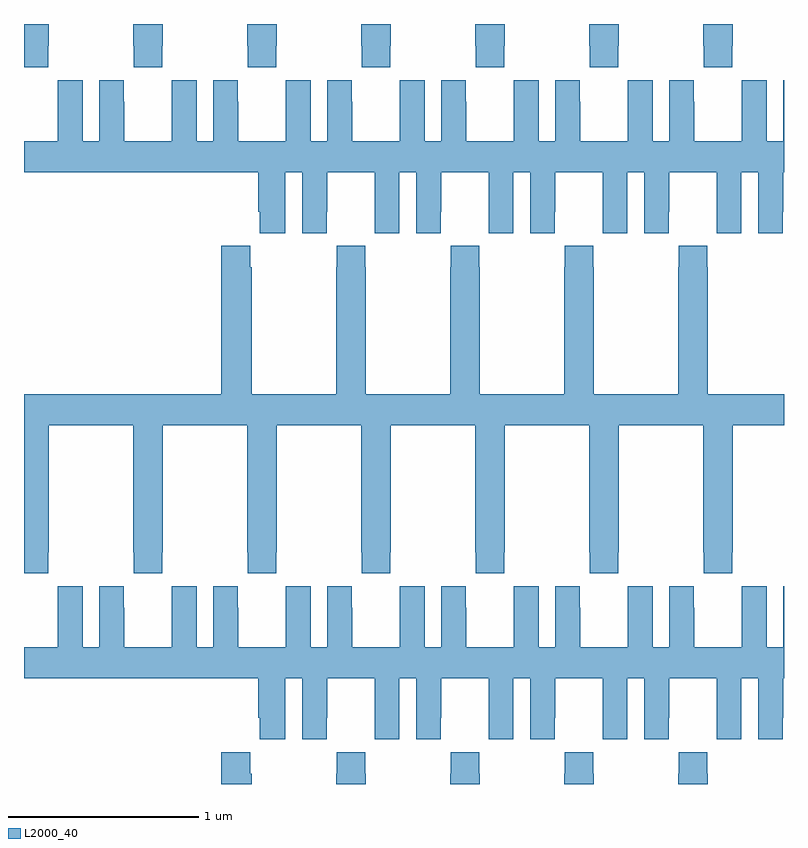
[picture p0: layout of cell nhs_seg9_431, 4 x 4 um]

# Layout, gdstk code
import gdstk
lib = gdstk.Library(unit=1e-6, precision=1e-09)
def P(c, l, *ps):  # polygons
    for p in ps: c.add(gdstk.Polygon(p, *l))
L2000_40 = (2000, 40)

nhs_seg9_431 = lib.new_cell('nhs_seg9_431')
P(nhs_seg9_431, L2000_40, [(131.127,1230.385),(131.13,1230.385),(131.13,1230.5),(131,1230.5),(131,1230.273),(131.127,1230.273)],
  [(131.727,1230.385),(131.73,1230.385),(131.73,1230.5),(131.575,1230.5),(131.575,1230.385),(131.577,1230.385),(131.577,1230.273),(131.727,1230.273)],
  [(132.327,1230.385),(132.33,1230.385),(132.33,1230.5),(132.175,1230.5),(132.175,1230.385),(132.177,1230.385),(132.177,1230.273),(132.327,1230.273)],
  [(132.927,1230.385),(132.93,1230.385),(132.93,1230.5),(132.775,1230.5),(132.775,1230.385),(132.777,1230.385),(132.777,1230.273),(132.927,1230.273)],
  [(133.527,1230.385),(133.53,1230.385),(133.53,1230.5),(133.375,1230.5),(133.375,1230.385),(133.377,1230.385),(133.377,1230.273),(133.527,1230.273)],
  [(134.127,1230.385),(134.13,1230.385),(134.13,1230.5),(133.975,1230.5),(133.975,1230.385),(133.977,1230.385),(133.977,1230.273),(134.127,1230.273)],
  [(134.727,1230.385),(134.73,1230.385),(134.73,1230.5),(134.575,1230.5),(134.575,1230.385),(134.577,1230.385),(134.577,1230.273),(134.727,1230.273)],
  [(134.045,1229.512),(134.046,1229.512),(134.046,1229.4),(134.176,1229.4),(134.176,1229.72),(134.264,1229.72),(134.264,1229.4),(134.394,1229.4),(134.394,1229.512),(134.395,1229.512),(134.395,1229.72),(134.645,1229.72),(134.645,1229.512),(134.646,1229.512),(134.646,1229.4),(134.776,1229.4),(134.776,1229.72),(134.864,1229.72),(134.864,1229.4),(134.994,1229.4),(134.994,1229.512),(134.995,1229.512),(134.995,1229.72),(135,1229.72),(135,1230.205),(134.996,1230.205),(134.996,1229.884),(134.908,1229.884),(134.908,1230.205),(134.778,1230.205),(134.778,1230.092),(134.777,1230.092),(134.777,1229.884),(134.527,1229.884),(134.527,1230.092),(134.526,1230.092),(134.526,1230.205),(134.396,1230.205),(134.396,1229.884),(134.308,1229.884),(134.308,1230.205),(134.178,1230.205),(134.178,1230.092),(134.177,1230.092),(134.177,1229.884),(133.927,1229.884),(133.927,1230.092),(133.926,1230.092),(133.926,1230.205),(133.796,1230.205),(133.796,1229.884),(133.708,1229.884),(133.708,1230.205),(133.578,1230.205),(133.578,1230.092),(133.577,1230.092),(133.577,1229.884),(133.327,1229.884),(133.327,1230.092),(133.326,1230.092),(133.326,1230.205),(133.196,1230.205),(133.196,1229.884),(133.108,1229.884),(133.108,1230.205),(132.978,1230.205),(132.978,1230.092),(132.977,1230.092),(132.977,1229.884),(132.727,1229.884),(132.727,1230.092),(132.726,1230.092),(132.726,1230.205),(132.596,1230.205),(132.596,1229.884),(132.508,1229.884),(132.508,1230.205),(132.378,1230.205),(132.378,1230.092),(132.377,1230.092),(132.377,1229.884),(132.127,1229.884),(132.127,1230.092),(132.126,1230.092),(132.126,1230.205),(131.996,1230.205),(131.996,1229.884),(131.908,1229.884),(131.908,1230.205),(131.778,1230.205),(131.778,1230.092),(131.777,1230.092),(131.777,1229.884),(131.527,1229.884),(131.527,1230.092),(131.526,1230.092),(131.526,1230.205),(131.396,1230.205),(131.396,1229.884),(131.308,1229.884),(131.308,1230.205),(131.178,1230.205),(131.178,1230.092),(131.177,1230.092),(131.177,1229.884),(131,1229.884),(131,1229.72),(132.233,1229.72),(132.233,1229.512),(132.242,1229.512),(132.242,1229.4),(132.376,1229.4),(132.376,1229.72),(132.464,1229.72),(132.464,1229.4),(132.594,1229.4),(132.594,1229.512),(132.595,1229.512),(132.595,1229.72),(132.845,1229.72),(132.845,1229.512),(132.846,1229.512),(132.846,1229.4),(132.976,1229.4),(132.976,1229.72),(133.064,1229.72),(133.064,1229.4),(133.194,1229.4),(133.194,1229.512),(133.195,1229.512),(133.195,1229.72),(133.445,1229.72),(133.445,1229.512),(133.446,1229.512),(133.446,1229.4),(133.576,1229.4),(133.576,1229.72),(133.664,1229.72),(133.664,1229.4),(133.794,1229.4),(133.794,1229.512),(133.795,1229.512),(133.795,1229.72),(134.045,1229.72)],
  [(131.127,1227.721),(131.13,1227.721),(131.13,1228.388),(131.575,1228.388),(131.575,1227.721),(131.577,1227.721),(131.577,1227.609),(131.727,1227.609),(131.727,1227.721),(131.73,1227.721),(131.73,1228.388),(132.175,1228.388),(132.175,1227.721),(132.177,1227.721),(132.177,1227.609),(132.327,1227.609),(132.327,1227.721),(132.33,1227.721),(132.33,1228.388),(132.775,1228.388),(132.775,1227.721),(132.777,1227.721),(132.777,1227.609),(132.927,1227.609),(132.927,1227.721),(132.93,1227.721),(132.93,1228.388),(133.375,1228.388),(133.375,1227.721),(133.377,1227.721),(133.377,1227.609),(133.527,1227.609),(133.527,1227.721),(133.53,1227.721),(133.53,1228.388),(133.975,1228.388),(133.975,1227.721),(133.977,1227.721),(133.977,1227.609),(134.127,1227.609),(134.127,1227.721),(134.13,1227.721),(134.13,1228.388),(134.575,1228.388),(134.575,1227.721),(134.577,1227.721),(134.577,1227.609),(134.727,1227.609),(134.727,1227.721),(134.73,1227.721),(134.73,1228.388),(135,1228.388),(135,1228.552),(134.598,1228.552),(134.598,1229.219),(134.595,1229.219),(134.595,1229.332),(134.445,1229.332),(134.445,1229.219),(134.443,1229.219),(134.443,1228.552),(133.998,1228.552),(133.998,1229.219),(133.995,1229.219),(133.995,1229.332),(133.845,1229.332),(133.845,1229.219),(133.843,1229.219),(133.843,1228.552),(133.398,1228.552),(133.398,1229.219),(133.395,1229.219),(133.395,1229.332),(133.245,1229.332),(133.245,1229.219),(133.243,1229.219),(133.243,1228.552),(132.798,1228.552),(132.798,1229.219),(132.795,1229.219),(132.795,1229.332),(132.645,1229.332),(132.645,1229.219),(132.643,1229.219),(132.643,1228.552),(132.198,1228.552),(132.198,1229.219),(132.191,1229.219),(132.191,1229.332),(132.038,1229.332),(132.038,1228.552),(131,1228.552),(131,1227.609),(131.127,1227.609)],
  [(133.927,1227.428),(133.926,1227.428),(133.926,1227.541),(133.796,1227.541),(133.796,1227.22),(133.708,1227.22),(133.708,1227.541),(133.578,1227.541),(133.578,1227.428),(133.577,1227.428),(133.577,1227.22),(133.327,1227.22),(133.327,1227.428),(133.326,1227.428),(133.326,1227.541),(133.196,1227.541),(133.196,1227.22),(133.108,1227.22),(133.108,1227.541),(132.978,1227.541),(132.978,1227.428),(132.977,1227.428),(132.977,1227.22),(132.727,1227.22),(132.727,1227.428),(132.726,1227.428),(132.726,1227.541),(132.596,1227.541),(132.596,1227.22),(132.508,1227.22),(132.508,1227.541),(132.378,1227.541),(132.378,1227.428),(132.377,1227.428),(132.377,1227.22),(132.127,1227.22),(132.127,1227.428),(132.126,1227.428),(132.126,1227.541),(131.996,1227.541),(131.996,1227.22),(131.908,1227.22),(131.908,1227.541),(131.778,1227.541),(131.778,1227.428),(131.777,1227.428),(131.777,1227.22),(131.527,1227.22),(131.527,1227.428),(131.526,1227.428),(131.526,1227.541),(131.396,1227.541),(131.396,1227.22),(131.308,1227.22),(131.308,1227.541),(131.178,1227.541),(131.178,1227.428),(131.177,1227.428),(131.177,1227.22),(131,1227.22),(131,1227.056),(132.233,1227.056),(132.233,1226.848),(132.242,1226.848),(132.242,1226.736),(132.376,1226.736),(132.376,1227.056),(132.464,1227.056),(132.464,1226.736),(132.594,1226.736),(132.594,1226.848),(132.595,1226.848),(132.595,1227.056),(132.845,1227.056),(132.845,1226.848),(132.846,1226.848),(132.846,1226.736),(132.976,1226.736),(132.976,1227.056),(133.064,1227.056),(133.064,1226.736),(133.194,1226.736),(133.194,1226.848),(133.195,1226.848),(133.195,1227.056),(133.445,1227.056),(133.445,1226.848),(133.446,1226.848),(133.446,1226.736),(133.576,1226.736),(133.576,1227.056),(133.664,1227.056),(133.664,1226.736),(133.794,1226.736),(133.794,1226.848),(133.795,1226.848),(133.795,1227.056),(134.045,1227.056),(134.045,1226.848),(134.046,1226.848),(134.046,1226.736),(134.176,1226.736),(134.176,1227.056),(134.264,1227.056),(134.264,1226.736),(134.394,1226.736),(134.394,1226.848),(134.395,1226.848),(134.395,1227.056),(134.645,1227.056),(134.645,1226.848),(134.646,1226.848),(134.646,1226.736),(134.776,1226.736),(134.776,1227.056),(134.864,1227.056),(134.864,1226.736),(134.994,1226.736),(134.994,1226.848),(134.995,1226.848),(134.995,1227.056),(135,1227.056),(135,1227.541),(134.996,1227.541),(134.996,1227.22),(134.908,1227.22),(134.908,1227.541),(134.778,1227.541),(134.778,1227.428),(134.777,1227.428),(134.777,1227.22),(134.527,1227.22),(134.527,1227.428),(134.526,1227.428),(134.526,1227.541),(134.396,1227.541),(134.396,1227.22),(134.308,1227.22),(134.308,1227.541),(134.178,1227.541),(134.178,1227.428),(134.177,1227.428),(134.177,1227.22),(133.927,1227.22)],
  [(133.398,1226.555),(133.395,1226.555),(133.395,1226.668),(133.245,1226.668),(133.245,1226.555),(133.243,1226.555),(133.243,1226.5),(133.398,1226.5)],
  [(132.198,1226.555),(132.191,1226.555),(132.191,1226.668),(132.038,1226.668),(132.038,1226.5),(132.198,1226.5)],
  [(132.798,1226.555),(132.795,1226.555),(132.795,1226.668),(132.645,1226.668),(132.645,1226.555),(132.643,1226.555),(132.643,1226.5),(132.798,1226.5)],
  [(133.998,1226.555),(133.995,1226.555),(133.995,1226.668),(133.845,1226.668),(133.845,1226.555),(133.843,1226.555),(133.843,1226.5),(133.998,1226.5)],
  [(134.598,1226.555),(134.595,1226.555),(134.595,1226.668),(134.445,1226.668),(134.445,1226.555),(134.443,1226.555),(134.443,1226.5),(134.598,1226.5)])

lib.write_gds('nhs_seg9_431.gds')
